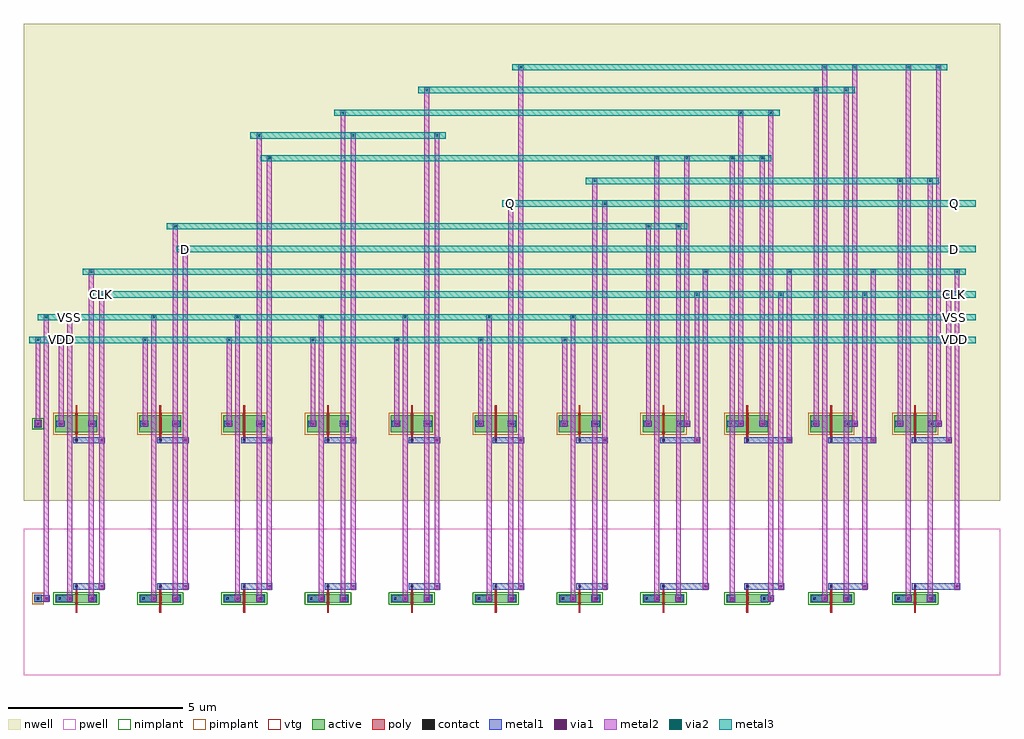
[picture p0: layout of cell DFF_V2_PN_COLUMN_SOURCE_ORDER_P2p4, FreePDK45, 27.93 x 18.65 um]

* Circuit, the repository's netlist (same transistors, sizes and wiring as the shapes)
* cell DFF_V2_PN_COLUMN_SOURCE_ORDER_P2p4
* pin Q
* pin CLK
* pin D
* pin VDD
* pin VSS
.SUBCKT DFF_V2_PN_COLUMN_SOURCE_ORDER_P2p4 6 8 9 12 13
* net 6 Q
* net 8 CLK
* net 9 D
* net 12 VDD
* net 13 VSS
* device instance $1 r0 *1 25.2,7 PMOS_VTG
M$1 11 8 7 12 PMOS_VTG L=0.05U W=0.5U AS=0.2875P AD=0.2875P PS=2.15U PD=2.15U
* device instance $2 r0 *1 20.4,7 PMOS_VTG
M$2 10 1 4 12 PMOS_VTG L=0.05U W=0.5U AS=0.2875P AD=0.2875P PS=2.15U PD=2.15U
* device instance $3 r0 *1 22.8,7 PMOS_VTG
M$3 11 1 5 12 PMOS_VTG L=0.05U W=0.5U AS=0.2875P AD=0.2875P PS=2.15U PD=2.15U
* device instance $4 r0 *1 18,7 PMOS_VTG
M$4 10 8 2 12 PMOS_VTG L=0.05U W=0.5U AS=0.2875P AD=0.2875P PS=2.15U PD=2.15U
* device instance $5 r0 *1 1.2,7 PMOS_VTG
M$5 1 8 12 12 PMOS_VTG L=0.05U W=0.5U AS=0.2875P AD=0.2875P PS=2.15U PD=2.15U
* device instance $6 r0 *1 8.4,7 PMOS_VTG
M$6 4 3 12 12 PMOS_VTG L=0.05U W=0.5U AS=0.2875P AD=0.2875P PS=2.15U PD=2.15U
* device instance $7 r0 *1 3.6,7 PMOS_VTG
M$7 2 9 12 12 PMOS_VTG L=0.05U W=0.5U AS=0.2875P AD=0.2875P PS=2.15U PD=2.15U
* device instance $8 r0 *1 6,7 PMOS_VTG
M$8 3 10 12 12 PMOS_VTG L=0.05U W=0.5U AS=0.2875P AD=0.2875P PS=2.15U PD=2.15U
* device instance $9 r0 *1 13.2,7 PMOS_VTG
M$9 6 11 12 12 PMOS_VTG L=0.05U W=0.5U AS=0.2875P AD=0.2875P PS=2.15U PD=2.15U
* device instance $10 r0 *1 10.8,7 PMOS_VTG
M$10 5 3 12 12 PMOS_VTG L=0.05U W=0.5U AS=0.2875P AD=0.2875P PS=2.15U PD=2.15U
* device instance $11 r0 *1 15.6,7 PMOS_VTG
M$11 7 6 12 12 PMOS_VTG L=0.05U W=0.5U AS=0.2875P AD=0.2875P PS=2.15U PD=2.15U
* device instance $12 r0 *1 25.2,2 NMOS_VTG
M$12 7 1 11 13 NMOS_VTG L=0.05U W=0.25U AS=0.14375P AD=0.14375P PS=1.65U
+ PD=1.65U
* device instance $13 r0 *1 22.8,2 NMOS_VTG
M$13 5 8 11 13 NMOS_VTG L=0.05U W=0.25U AS=0.14375P AD=0.14375P PS=1.65U
+ PD=1.65U
* device instance $14 r0 *1 18,2 NMOS_VTG
M$14 2 1 10 13 NMOS_VTG L=0.05U W=0.25U AS=0.14375P AD=0.14375P PS=1.65U
+ PD=1.65U
* device instance $15 r0 *1 15.6,2 NMOS_VTG
M$15 7 6 13 13 NMOS_VTG L=0.05U W=0.25U AS=0.14375P AD=0.14375P PS=1.65U
+ PD=1.65U
* device instance $16 r0 *1 1.2,2 NMOS_VTG
M$16 1 8 13 13 NMOS_VTG L=0.05U W=0.25U AS=0.14375P AD=0.14375P PS=1.65U
+ PD=1.65U
* device instance $17 r0 *1 3.6,2 NMOS_VTG
M$17 2 9 13 13 NMOS_VTG L=0.05U W=0.25U AS=0.14375P AD=0.14375P PS=1.65U
+ PD=1.65U
* device instance $18 r0 *1 6,2 NMOS_VTG
M$18 3 10 13 13 NMOS_VTG L=0.05U W=0.25U AS=0.14375P AD=0.14375P PS=1.65U
+ PD=1.65U
* device instance $19 r0 *1 8.4,2 NMOS_VTG
M$19 4 3 13 13 NMOS_VTG L=0.05U W=0.25U AS=0.14375P AD=0.14375P PS=1.65U
+ PD=1.65U
* device instance $20 r0 *1 20.4,2 NMOS_VTG
M$20 4 8 10 13 NMOS_VTG L=0.05U W=0.25U AS=0.14375P AD=0.14375P PS=1.65U
+ PD=1.65U
* device instance $21 r0 *1 13.2,2 NMOS_VTG
M$21 6 11 13 13 NMOS_VTG L=0.05U W=0.25U AS=0.14375P AD=0.14375P PS=1.65U
+ PD=1.65U
* device instance $22 r0 *1 10.8,2 NMOS_VTG
M$22 5 3 13 13 NMOS_VTG L=0.05U W=0.25U AS=0.14375P AD=0.14375P PS=1.65U
+ PD=1.65U
.ENDS DFF_V2_PN_COLUMN_SOURCE_ORDER_P2p4

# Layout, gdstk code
import gdstk
lib = gdstk.Library(unit=1e-6, precision=5e-10)
def R(c, l, rs):  # rectangles x0, y0, x1, y1
    for r in rs: c.add(gdstk.rectangle(r[:2], r[2:], *l))
def A(c, l, x, y, w, h, nx, ny, dx, dy):  # array of equal rectangles
    R(c, l, [(x+i*dx, y+j*dy, x+i*dx+w, y+j*dy+h) for i in range(nx) for j in range(ny)])
active = (1, 0)
pwell = (2, 0)
nwell = (3, 0)
nimplant = (4, 0)
pimplant = (5, 0)
vtg = (6, 0)
poly = (9, 0)
contact = (10, 0)
metal1 = (11, 0)
via1 = (12, 0)
metal2 = (13, 0)
via2 = (14, 0)
metal3 = (15, 0)

dff_v2_pn_column_source_ = lib.new_cell('DFF_V2_PN_COLUMN_SOURCE_ORDER_P2p4')
A(dff_v2_pn_column_source_, active, 0.6, 1.875, 1.2, 0.25, 11, 1, 2.4, 0)
A(dff_v2_pn_column_source_, active, 0.6, 6.75, 1.2, 0.5, 11, 1, 2.4, 0)
R(dff_v2_pn_column_source_, active, [(-0.01,1.89,0.21,2.11), (-0.01,6.89,0.21,7.11)])
R(dff_v2_pn_column_source_, pwell, [(-0.3,-0.2,27.63,4)])
R(dff_v2_pn_column_source_, nwell, [(-0.3,4.8,27.63,18.45)])
A(dff_v2_pn_column_source_, nimplant, 0.54, 1.815, 1.32, 0.37, 11, 1, 2.4, 0)
R(dff_v2_pn_column_source_, nimplant, [(-0.06,6.84,0.26,7.16)])
A(dff_v2_pn_column_source_, pimplant, 0.54, 6.69, 1.32, 0.62, 11, 1, 2.4, 0)
R(dff_v2_pn_column_source_, pimplant, [(-0.06,1.84,0.26,2.16)])
A(dff_v2_pn_column_source_, vtg, 1.165, 1.845, 0.07, 0.31, 11, 1, 2.4, 0)
A(dff_v2_pn_column_source_, vtg, 1.165, 6.72, 0.07, 0.56, 11, 1, 2.4, 0)
A(dff_v2_pn_column_source_, poly, 1.175, 1.595, 0.05, 0.81, 11, 1, 2.4, 0)
A(dff_v2_pn_column_source_, poly, 1.175, 6.47, 0.05, 1.06, 11, 1, 2.4, 0)
A(dff_v2_pn_column_source_, contact, 1.17, 2.315, 0.065, 0.065, 11, 2, 2.4, 4.185)
R(dff_v2_pn_column_source_, contact, [(0.07,1.97,0.135,2.035), (0.69,1.97,0.755,2.035), (1.65,1.97,1.715,2.035), (3.09,1.97,3.155,2.035), (4.05,1.97,4.115,2.035), (5.49,1.97,5.555,2.035), (6.45,1.97,6.515,2.035), (7.89,1.97,7.955,2.035), (8.85,1.97,8.915,2.035), (10.29,1.97,10.355,2.035), (11.25,1.97,11.315,2.035), (12.69,1.97,12.755,2.035), (13.65,1.97,13.715,2.035), (15.09,1.97,15.155,2.035), (16.05,1.97,16.115,2.035), (17.49,1.97,17.555,2.035), (18.45,1.97,18.515,2.035), (19.89,1.97,19.955,2.035), (20.85,1.97,20.915,2.035), (22.29,1.97,22.355,2.035), (23.25,1.97,23.315,2.035), (24.69,1.97,24.755,2.035), (25.65,1.97,25.715,2.035), (0.07,6.97,0.135,7.035), (0.69,6.97,0.755,7.035), (1.65,6.97,1.715,7.035), (3.09,6.97,3.155,7.035), (4.05,6.97,4.115,7.035), (5.49,6.97,5.555,7.035), (6.45,6.97,6.515,7.035), (7.89,6.97,7.955,7.035), (8.85,6.97,8.915,7.035), (10.29,6.97,10.355,7.035), (11.25,6.97,11.315,7.035), (12.69,6.97,12.755,7.035), (13.65,6.97,13.715,7.035), (15.09,6.97,15.155,7.035), (16.05,6.97,16.115,7.035), (17.49,6.97,17.555,7.035), (18.45,6.97,18.515,7.035), (19.89,6.97,19.955,7.035), (20.85,6.97,20.915,7.035), (22.29,6.97,22.355,7.035), (23.25,6.97,23.315,7.035), (24.69,6.97,24.755,7.035), (25.65,6.97,25.715,7.035)])
A(dff_v2_pn_column_source_, metal1, 0.77, 1.91, 0.24, 0.18, 8, 1, 2.4, 0)
A(dff_v2_pn_column_source_, metal1, 1.2, 2.255, 0.72, 0.18, 7, 2, 2.4, 4.185)
A(dff_v2_pn_column_source_, metal1, 17.91, 2.255, 0.18, 0.18, 3, 1, 1.2, 0)
A(dff_v2_pn_column_source_, metal1, 20.31, 6.44, 0.18, 0.18, 5, 1, 1.2, 0)
R(dff_v2_pn_column_source_, metal1, [(0,1.9,0.2,2.1), (0.1,1.91,0.34,2.09), (0.1,1.91,0.34,2.09), (0.1,1.91,0.34,2.09), (0.1,1.91,0.34,2.09), (0.1,1.91,0.34,2.09), (0.1,1.91,0.34,2.09), (0.1,1.91,0.34,2.09), (0.1,1.91,0.34,2.09), (0.1,1.91,0.34,2.09), (0.1,1.91,0.34,2.09), (0.1,1.91,0.34,2.09), (0.1,1.91,0.34,2.09), (0.25,1.91,0.43,2.09), (0.25,1.91,0.43,2.09), (0.25,1.91,0.43,2.09), (0.25,1.91,0.43,2.09), (0.25,1.91,0.43,2.09), (0.25,1.91,0.43,2.09), (0.25,1.91,0.43,2.09), (0.25,1.91,0.43,2.09), (0.25,1.91,0.43,2.09), (0.25,1.91,0.43,2.09), (0.25,1.91,0.43,2.09), (0.25,1.91,0.43,2.09), (0.63,1.91,0.81,2.09), (0.92,1.91,1.1,2.09), (1.54,1.91,1.72,2.09), (1.59,1.91,1.77,2.09), (3.03,1.91,3.21,2.09), (3.32,1.91,3.5,2.09), (3.94,1.91,4.12,2.09), (3.99,1.91,4.17,2.09), (5.43,1.91,5.61,2.09), (5.72,1.91,5.9,2.09), (6.34,1.91,6.52,2.09), (6.39,1.91,6.57,2.09), (7.83,1.91,8.01,2.09), (8.12,1.91,8.3,2.09), (8.74,1.91,8.92,2.09), (8.79,1.91,8.97,2.09), (10.23,1.91,10.41,2.09), (10.52,1.91,10.7,2.09), (11.14,1.91,11.32,2.09), (11.19,1.91,11.37,2.09), (12.63,1.91,12.81,2.09), (12.92,1.91,13.1,2.09), (13.54,1.91,13.72,2.09), (13.59,1.91,13.77,2.09), (15.03,1.91,15.21,2.09), (15.32,1.91,15.5,2.09), (15.94,1.91,16.12,2.09), (15.99,1.91,16.17,2.09), (17.43,1.91,17.61,2.09), (17.72,1.91,17.9,2.09), (18.34,1.91,18.52,2.09), (18.39,1.91,18.57,2.09), (19.83,1.91,20.01,2.09), (19.88,1.91,20.06,2.09), (20.79,1.91,20.97,2.09), (20.83,1.91,21.07,2.09), (20.98,1.91,21.16,2.09), (22.23,1.91,22.41,2.09), (22.37,1.91,22.61,2.09), (22.52,1.91,22.7,2.09), (23.14,1.91,23.32,2.09), (23.19,1.91,23.37,2.09), (24.63,1.91,24.81,2.09), (24.77,1.91,25.01,2.09), (24.92,1.91,25.1,2.09), (25.54,1.91,25.72,2.09), (25.59,1.91,25.77,2.09), (1.11,2.255,1.29,2.435), (1.83,2.255,2.01,2.435), (3.51,2.255,3.69,2.435), (4.23,2.255,4.41,2.435), (5.91,2.255,6.09,2.435), (6.63,2.255,6.81,2.435), (8.31,2.255,8.49,2.435), (9.03,2.255,9.21,2.435), (10.71,2.255,10.89,2.435), (11.43,2.255,11.61,2.435), (13.11,2.255,13.29,2.435), (13.83,2.255,14.01,2.435), (15.51,2.255,15.69,2.435), (16.23,2.255,16.41,2.435), (18,2.255,19.2,2.435), (20.4,2.255,21.36,2.435), (21.27,2.255,21.45,2.435), (22.71,2.255,22.89,2.435), (22.8,2.255,23.76,2.435), (23.67,2.255,23.85,2.435), (25.11,2.255,25.29,2.435), (25.2,2.255,26.4,2.435), (26.31,2.255,26.49,2.435), (1.11,6.44,1.29,6.62), (1.83,6.44,2.01,6.62), (3.51,6.44,3.69,6.62), (4.23,6.44,4.41,6.62), (5.91,6.44,6.09,6.62), (6.63,6.44,6.81,6.62), (8.31,6.44,8.49,6.62), (9.03,6.44,9.21,6.62), (10.71,6.44,10.89,6.62), (11.43,6.44,11.61,6.62), (13.11,6.44,13.29,6.62), (13.83,6.44,14.01,6.62), (15.51,6.44,15.69,6.62), (16.23,6.44,16.41,6.62), (17.91,6.44,18.09,6.62), (18,6.44,18.96,6.62), (18.87,6.44,19.05,6.62), (20.4,6.44,21.6,6.62), (22.8,6.44,24,6.62), (25.2,6.44,26.16,6.62), (26.07,6.44,26.25,6.62), (0,6.9,0.2,7.1), (0.01,6.91,0.19,7.09), (0.01,6.91,0.19,7.09), (0.01,6.91,0.19,7.09), (0.01,6.91,0.19,7.09), (0.01,6.91,0.19,7.09), (0.01,6.91,0.19,7.09), (0.01,6.91,0.19,7.09), (0.01,6.91,0.19,7.09), (0.01,6.91,0.19,7.09), (0.01,6.91,0.19,7.09), (0.01,6.91,0.19,7.09), (0.01,6.91,0.19,7.09), (0.63,6.91,0.81,7.09), (0.68,6.91,0.86,7.09), (1.54,6.91,1.72,7.09), (1.59,6.91,1.77,7.09), (3.03,6.91,3.21,7.09), (3.08,6.91,3.26,7.09), (3.94,6.91,4.12,7.09), (3.99,6.91,4.17,7.09), (5.43,6.91,5.61,7.09), (5.48,6.91,5.66,7.09), (6.34,6.91,6.52,7.09), (6.39,6.91,6.57,7.09), (7.83,6.91,8.01,7.09), (7.88,6.91,8.06,7.09), (8.74,6.91,8.92,7.09), (8.79,6.91,8.97,7.09), (10.23,6.91,10.41,7.09), (10.28,6.91,10.46,7.09), (11.14,6.91,11.32,7.09), (11.19,6.91,11.37,7.09), (12.63,6.91,12.81,7.09), (12.68,6.91,12.86,7.09), (13.54,6.91,13.72,7.09), (13.59,6.91,13.77,7.09), (15.03,6.91,15.21,7.09), (15.08,6.91,15.26,7.09), (15.94,6.91,16.12,7.09), (15.99,6.91,16.17,7.09), (17.43,6.91,17.61,7.09), (17.48,6.91,17.66,7.09), (18.39,6.91,18.57,7.09), (18.43,6.91,18.67,7.09), (18.58,6.91,18.76,7.09), (19.83,6.91,20.01,7.09), (19.97,6.91,20.21,7.09), (20.12,6.91,20.3,7.09), (20.74,6.91,20.92,7.09), (20.79,6.91,20.97,7.09), (22.23,6.91,22.41,7.09), (22.28,6.91,22.46,7.09), (23.19,6.91,23.37,7.09), (23.23,6.91,23.47,7.09), (23.38,6.91,23.56,7.09), (24.63,6.91,24.81,7.09), (24.68,6.91,24.86,7.09), (25.59,6.91,25.77,7.09), (25.63,6.91,25.87,7.09), (25.78,6.91,25.96,7.09)])
A(dff_v2_pn_column_source_, via1, 1.89, 2.315, 0.065, 0.065, 7, 2, 2.4, 4.185)
R(dff_v2_pn_column_source_, via1, [(0.31,1.97,0.375,2.035), (0.31,1.97,0.375,2.035), (0.31,1.97,0.375,2.035), (0.31,1.97,0.375,2.035), (0.31,1.97,0.375,2.035), (0.31,1.97,0.375,2.035), (0.31,1.97,0.375,2.035), (0.31,1.97,0.375,2.035), (0.31,1.97,0.375,2.035), (0.31,1.97,0.375,2.035), (0.31,1.97,0.375,2.035), (0.31,1.97,0.375,2.035), (0.98,1.97,1.045,2.035), (1.6,1.97,1.665,2.035), (3.38,1.97,3.445,2.035), (4,1.97,4.065,2.035), (5.78,1.97,5.845,2.035), (6.4,1.97,6.465,2.035), (8.18,1.97,8.245,2.035), (8.8,1.97,8.865,2.035), (10.58,1.97,10.645,2.035), (11.2,1.97,11.265,2.035), (12.98,1.97,13.045,2.035), (13.6,1.97,13.665,2.035), (15.38,1.97,15.445,2.035), (16,1.97,16.065,2.035), (17.78,1.97,17.845,2.035), (18.4,1.97,18.465,2.035), (19.94,1.97,20.005,2.035), (21.04,1.97,21.105,2.035), (22.58,1.97,22.645,2.035), (23.2,1.97,23.265,2.035), (24.98,1.97,25.045,2.035), (25.6,1.97,25.665,2.035), (19.17,2.315,19.235,2.38), (21.33,2.315,21.395,2.38), (23.73,2.315,23.795,2.38), (26.37,2.315,26.435,2.38), (18.93,6.5,18.995,6.565), (21.57,6.5,21.635,6.565), (23.97,6.5,24.035,6.565), (26.13,6.5,26.195,6.565), (0.07,6.97,0.135,7.035), (0.07,6.97,0.135,7.035), (0.07,6.97,0.135,7.035), (0.07,6.97,0.135,7.035), (0.07,6.97,0.135,7.035), (0.07,6.97,0.135,7.035), (0.07,6.97,0.135,7.035), (0.07,6.97,0.135,7.035), (0.07,6.97,0.135,7.035), (0.07,6.97,0.135,7.035), (0.07,6.97,0.135,7.035), (0.07,6.97,0.135,7.035), (0.74,6.97,0.805,7.035), (1.6,6.97,1.665,7.035), (3.14,6.97,3.205,7.035), (4,6.97,4.065,7.035), (5.54,6.97,5.605,7.035), (6.4,6.97,6.465,7.035), (7.94,6.97,8.005,7.035), (8.8,6.97,8.865,7.035), (10.34,6.97,10.405,7.035), (11.2,6.97,11.265,7.035), (12.74,6.97,12.805,7.035), (13.6,6.97,13.665,7.035), (15.14,6.97,15.205,7.035), (16,6.97,16.065,7.035), (17.54,6.97,17.605,7.035), (18.64,6.97,18.705,7.035), (20.18,6.97,20.245,7.035), (20.8,6.97,20.865,7.035), (22.34,6.97,22.405,7.035), (23.44,6.97,23.505,7.035), (24.74,6.97,24.805,7.035), (25.84,6.97,25.905,7.035)])
A(dff_v2_pn_column_source_, metal2, 0.94, 2, 0.14, 8.05, 7, 1, 2.4, 0)
A(dff_v2_pn_column_source_, metal2, 1.845, 2.27, 0.15, 0.15, 7, 2, 2.4, 4.185)
A(dff_v2_pn_column_source_, metal2, 0.7, 7, 0.14, 2.4, 7, 1, 2.4, 0)
A(dff_v2_pn_column_source_, metal2, 0.695, 9.325, 0.15, 0.15, 7, 1, 2.4, 0)
A(dff_v2_pn_column_source_, metal2, 0.935, 9.975, 0.15, 0.15, 7, 1, 2.4, 0)
A(dff_v2_pn_column_source_, metal2, 18.885, 10.625, 0.15, 0.15, 4, 1, 2.4, 0)
A(dff_v2_pn_column_source_, metal2, 19.125, 11.275, 0.15, 0.15, 4, 1, 2.4, 0)
R(dff_v2_pn_column_source_, metal2, [(0.265,1.925,0.415,2.075), (0.265,1.925,0.415,2.075), (0.265,1.925,0.415,2.075), (0.265,1.925,0.415,2.075), (0.265,1.925,0.415,2.075), (0.265,1.925,0.415,2.075), (0.265,1.925,0.415,2.075), (0.265,1.925,0.415,2.075), (0.265,1.925,0.415,2.075), (0.265,1.925,0.415,2.075), (0.265,1.925,0.415,2.075), (0.265,1.925,0.415,2.075), (0.935,1.925,1.085,2.075), (1.555,1.925,1.705,2.075), (3.335,1.925,3.485,2.075), (3.955,1.925,4.105,2.075), (5.735,1.925,5.885,2.075), (6.355,1.925,6.505,2.075), (8.135,1.925,8.285,2.075), (8.755,1.925,8.905,2.075), (10.535,1.925,10.685,2.075), (11.155,1.925,11.305,2.075), (12.935,1.925,13.085,2.075), (13.555,1.925,13.705,2.075), (15.335,1.925,15.485,2.075), (15.955,1.925,16.105,2.075), (17.735,1.925,17.885,2.075), (18.355,1.925,18.505,2.075), (19.895,1.925,20.045,2.075), (20.995,1.925,21.145,2.075), (22.535,1.925,22.685,2.075), (23.155,1.925,23.305,2.075), (24.935,1.925,25.085,2.075), (25.555,1.925,25.705,2.075), (0.27,2,0.41,10.05), (0.27,2,0.41,10.05), (0.27,2,0.41,10.05), (0.27,2,0.41,10.05), (0.27,2,0.41,10.05), (0.27,2,0.41,10.05), (0.27,2,0.41,10.05), (0.27,2,0.41,10.05), (0.27,2,0.41,10.05), (0.27,2,0.41,10.05), (0.27,2,0.41,10.05), (0.27,2,0.41,10.05), (1.56,2,1.7,11.35), (3.96,2,4.1,12.65), (6.36,2,6.5,15.25), (8.76,2,8.9,15.9), (11.16,2,11.3,16.55), (13.56,2,13.7,13.3), (15.96,2,16.1,13.95), (17.74,2,17.88,14.6), (18.36,2,18.5,12.65), (19.9,2,20.04,14.6), (21,2,21.14,15.9), (22.54,2,22.68,17.2), (23.16,2,23.3,16.55), (24.94,2,25.08,17.2), (25.56,2,25.7,13.95), (19.125,2.27,19.275,2.42), (21.285,2.27,21.435,2.42), (23.685,2.27,23.835,2.42), (26.325,2.27,26.475,2.42), (1.85,2.345,1.99,10.7), (4.25,2.345,4.39,12), (6.65,2.345,6.79,14.6), (9.05,2.345,9.19,15.25), (11.45,2.345,11.59,15.25), (13.85,2.345,13.99,17.2), (16.25,2.345,16.39,13.3), (19.13,2.345,19.27,11.35), (21.29,2.345,21.43,10.7), (23.69,2.345,23.83,10.7), (26.33,2.345,26.47,11.35), (18.885,6.455,19.035,6.605), (21.525,6.455,21.675,6.605), (23.925,6.455,24.075,6.605), (26.085,6.455,26.235,6.605), (1.85,6.53,1.99,10.7), (4.25,6.53,4.39,12), (6.65,6.53,6.79,14.6), (9.05,6.53,9.19,15.25), (11.45,6.53,11.59,15.25), (13.85,6.53,13.99,17.2), (16.25,6.53,16.39,13.3), (18.89,6.53,19.03,10.7), (21.53,6.53,21.67,11.35), (23.93,6.53,24.07,11.35), (26.09,6.53,26.23,10.7), (0.025,6.925,0.175,7.075), (0.025,6.925,0.175,7.075), (0.025,6.925,0.175,7.075), (0.025,6.925,0.175,7.075), (0.025,6.925,0.175,7.075), (0.025,6.925,0.175,7.075), (0.025,6.925,0.175,7.075), (0.025,6.925,0.175,7.075), (0.025,6.925,0.175,7.075), (0.025,6.925,0.175,7.075), (0.025,6.925,0.175,7.075), (0.025,6.925,0.175,7.075), (0.695,6.925,0.845,7.075), (1.555,6.925,1.705,7.075), (3.095,6.925,3.245,7.075), (3.955,6.925,4.105,7.075), (5.495,6.925,5.645,7.075), (6.355,6.925,6.505,7.075), (7.895,6.925,8.045,7.075), (8.755,6.925,8.905,7.075), (10.295,6.925,10.445,7.075), (11.155,6.925,11.305,7.075), (12.695,6.925,12.845,7.075), (13.555,6.925,13.705,7.075), (15.095,6.925,15.245,7.075), (15.955,6.925,16.105,7.075), (17.495,6.925,17.645,7.075), (18.595,6.925,18.745,7.075), (20.135,6.925,20.285,7.075), (20.755,6.925,20.905,7.075), (22.295,6.925,22.445,7.075), (23.395,6.925,23.545,7.075), (24.695,6.925,24.845,7.075), (25.795,6.925,25.945,7.075), (0.03,7,0.17,9.4), (0.03,7,0.17,9.4), (0.03,7,0.17,9.4), (0.03,7,0.17,9.4), (0.03,7,0.17,9.4), (0.03,7,0.17,9.4), (0.03,7,0.17,9.4), (0.03,7,0.17,9.4), (0.03,7,0.17,9.4), (0.03,7,0.17,9.4), (0.03,7,0.17,9.4), (0.03,7,0.17,9.4), (1.56,7,1.7,11.35), (3.96,7,4.1,12.65), (6.36,7,6.5,15.25), (8.76,7,8.9,15.9), (11.16,7,11.3,16.55), (13.56,7,13.7,13.3), (15.96,7,16.1,13.95), (17.5,7,17.64,12.65), (18.6,7,18.74,14.6), (20.14,7,20.28,15.9), (20.76,7,20.9,14.6), (22.3,7,22.44,16.55), (23.4,7,23.54,17.2), (24.7,7,24.84,13.95), (25.8,7,25.94,17.2), (0.025,9.325,0.175,9.475), (0.025,9.325,0.175,9.475), (0.025,9.325,0.175,9.475), (0.025,9.325,0.175,9.475), (0.025,9.325,0.175,9.475), (0.025,9.325,0.175,9.475), (0.025,9.325,0.175,9.475), (0.025,9.325,0.175,9.475), (0.025,9.325,0.175,9.475), (0.025,9.325,0.175,9.475), (0.025,9.325,0.175,9.475), (0.025,9.325,0.175,9.475), (0.265,9.975,0.415,10.125), (0.265,9.975,0.415,10.125), (0.265,9.975,0.415,10.125), (0.265,9.975,0.415,10.125), (0.265,9.975,0.415,10.125), (0.265,9.975,0.415,10.125), (0.265,9.975,0.415,10.125), (0.265,9.975,0.415,10.125), (0.265,9.975,0.415,10.125), (0.265,9.975,0.415,10.125), (0.265,9.975,0.415,10.125), (0.265,9.975,0.415,10.125), (1.845,10.625,1.995,10.775), (1.845,10.625,1.995,10.775), (1.555,11.275,1.705,11.425), (1.555,11.275,1.705,11.425), (4.245,11.925,4.395,12.075), (4.245,11.925,4.395,12.075), (3.955,12.575,4.105,12.725), (3.955,12.575,4.105,12.725), (17.495,12.575,17.645,12.725), (18.355,12.575,18.505,12.725), (13.555,13.225,13.705,13.375), (13.555,13.225,13.705,13.375), (16.245,13.225,16.395,13.375), (16.245,13.225,16.395,13.375), (15.955,13.875,16.105,14.025), (15.955,13.875,16.105,14.025), (24.695,13.875,24.845,14.025), (25.555,13.875,25.705,14.025), (6.645,14.525,6.795,14.675), (6.645,14.525,6.795,14.675), (17.735,14.525,17.885,14.675), (18.595,14.525,18.745,14.675), (19.895,14.525,20.045,14.675), (20.755,14.525,20.905,14.675), (6.355,15.175,6.505,15.325), (6.355,15.175,6.505,15.325), (9.045,15.175,9.195,15.325), (9.045,15.175,9.195,15.325), (11.445,15.175,11.595,15.325), (11.445,15.175,11.595,15.325), (8.755,15.825,8.905,15.975), (8.755,15.825,8.905,15.975), (20.135,15.825,20.285,15.975), (20.995,15.825,21.145,15.975), (11.155,16.475,11.305,16.625), (11.155,16.475,11.305,16.625), (22.295,16.475,22.445,16.625), (23.155,16.475,23.305,16.625), (13.845,17.125,13.995,17.275), (13.845,17.125,13.995,17.275), (22.535,17.125,22.685,17.275), (23.395,17.125,23.545,17.275), (24.935,17.125,25.085,17.275), (25.795,17.125,25.945,17.275)])
A(dff_v2_pn_column_source_, via2, 0.74, 9.37, 0.065, 0.065, 7, 1, 2.4, 0)
A(dff_v2_pn_column_source_, via2, 0.98, 10.02, 0.065, 0.065, 7, 1, 2.4, 0)
A(dff_v2_pn_column_source_, via2, 18.93, 10.67, 0.065, 0.065, 4, 1, 2.4, 0)
A(dff_v2_pn_column_source_, via2, 19.17, 11.32, 0.065, 0.065, 4, 1, 2.4, 0)
R(dff_v2_pn_column_source_, via2, [(0.07,9.37,0.135,9.435), (0.07,9.37,0.135,9.435), (0.07,9.37,0.135,9.435), (0.07,9.37,0.135,9.435), (0.07,9.37,0.135,9.435), (0.07,9.37,0.135,9.435), (0.07,9.37,0.135,9.435), (0.07,9.37,0.135,9.435), (0.07,9.37,0.135,9.435), (0.07,9.37,0.135,9.435), (0.07,9.37,0.135,9.435), (0.07,9.37,0.135,9.435), (0.31,10.02,0.375,10.085), (0.31,10.02,0.375,10.085), (0.31,10.02,0.375,10.085), (0.31,10.02,0.375,10.085), (0.31,10.02,0.375,10.085), (0.31,10.02,0.375,10.085), (0.31,10.02,0.375,10.085), (0.31,10.02,0.375,10.085), (0.31,10.02,0.375,10.085), (0.31,10.02,0.375,10.085), (0.31,10.02,0.375,10.085), (0.31,10.02,0.375,10.085), (1.89,10.67,1.955,10.735), (1.89,10.67,1.955,10.735), (1.6,11.32,1.665,11.385), (1.6,11.32,1.665,11.385), (4.29,11.97,4.355,12.035), (4.29,11.97,4.355,12.035), (4,12.62,4.065,12.685), (4,12.62,4.065,12.685), (17.54,12.62,17.605,12.685), (18.4,12.62,18.465,12.685), (13.6,13.27,13.665,13.335), (13.6,13.27,13.665,13.335), (16.29,13.27,16.355,13.335), (16.29,13.27,16.355,13.335), (16,13.92,16.065,13.985), (16,13.92,16.065,13.985), (24.74,13.92,24.805,13.985), (25.6,13.92,25.665,13.985), (6.69,14.57,6.755,14.635), (6.69,14.57,6.755,14.635), (17.78,14.57,17.845,14.635), (18.64,14.57,18.705,14.635), (19.94,14.57,20.005,14.635), (20.8,14.57,20.865,14.635), (6.4,15.22,6.465,15.285), (6.4,15.22,6.465,15.285), (9.09,15.22,9.155,15.285), (9.09,15.22,9.155,15.285), (11.49,15.22,11.555,15.285), (11.49,15.22,11.555,15.285), (8.8,15.87,8.865,15.935), (8.8,15.87,8.865,15.935), (20.18,15.87,20.245,15.935), (21.04,15.87,21.105,15.935), (11.2,16.52,11.265,16.585), (11.2,16.52,11.265,16.585), (22.34,16.52,22.405,16.585), (23.2,16.52,23.265,16.585), (13.89,17.17,13.955,17.235), (13.89,17.17,13.955,17.235), (22.58,17.17,22.645,17.235), (23.44,17.17,23.505,17.235), (24.98,17.17,25.045,17.235), (25.84,17.17,25.905,17.235)])
A(dff_v2_pn_column_source_, metal3, 0.695, 9.325, 0.15, 0.15, 7, 1, 2.4, 0)
A(dff_v2_pn_column_source_, metal3, 0.935, 9.975, 0.15, 0.15, 7, 1, 2.4, 0)
A(dff_v2_pn_column_source_, metal3, 18.885, 10.625, 0.15, 0.15, 4, 1, 2.4, 0)
A(dff_v2_pn_column_source_, metal3, 19.125, 11.275, 0.15, 0.15, 4, 1, 2.4, 0)
R(dff_v2_pn_column_source_, metal3, [(-0.15,9.31,15.42,9.49), (15.42,9.31,26.93,9.49), (0.025,9.325,0.175,9.475), (0.025,9.325,0.175,9.475), (0.025,9.325,0.175,9.475), (0.025,9.325,0.175,9.475), (0.025,9.325,0.175,9.475), (0.025,9.325,0.175,9.475), (0.025,9.325,0.175,9.475), (0.025,9.325,0.175,9.475), (0.025,9.325,0.175,9.475), (0.025,9.325,0.175,9.475), (0.025,9.325,0.175,9.475), (0.025,9.325,0.175,9.475), (0.09,9.96,15.66,10.14), (15.66,9.96,26.93,10.14), (0.265,9.975,0.415,10.125), (0.265,9.975,0.415,10.125), (0.265,9.975,0.415,10.125), (0.265,9.975,0.415,10.125), (0.265,9.975,0.415,10.125), (0.265,9.975,0.415,10.125), (0.265,9.975,0.415,10.125), (0.265,9.975,0.415,10.125), (0.265,9.975,0.415,10.125), (0.265,9.975,0.415,10.125), (0.265,9.975,0.415,10.125), (0.265,9.975,0.415,10.125), (1.67,10.61,26.41,10.79), (26.41,10.61,26.93,10.79), (1.845,10.625,1.995,10.775), (1.845,10.625,1.995,10.775), (1.38,11.26,26.65,11.44), (1.555,11.275,1.705,11.425), (1.555,11.275,1.705,11.425), (4.07,11.91,4.57,12.09), (4.57,11.91,26.93,12.09), (4.245,11.925,4.395,12.075), (4.245,11.925,4.395,12.075), (3.78,12.56,18.68,12.74), (3.955,12.575,4.105,12.725), (3.955,12.575,4.105,12.725), (17.495,12.575,17.645,12.725), (18.355,12.575,18.505,12.725), (13.38,13.21,16.57,13.39), (16.57,13.21,26.93,13.39), (13.555,13.225,13.705,13.375), (13.555,13.225,13.705,13.375), (16.245,13.225,16.395,13.375), (16.245,13.225,16.395,13.375), (15.78,13.86,25.88,14.04), (15.955,13.875,16.105,14.025), (15.955,13.875,16.105,14.025), (24.695,13.875,24.845,14.025), (25.555,13.875,25.705,14.025), (6.47,14.51,21.08,14.69), (6.645,14.525,6.795,14.675), (6.645,14.525,6.795,14.675), (17.735,14.525,17.885,14.675), (18.595,14.525,18.745,14.675), (19.895,14.525,20.045,14.675), (20.755,14.525,20.905,14.675), (6.18,15.16,11.77,15.34), (6.355,15.175,6.505,15.325), (6.355,15.175,6.505,15.325), (9.045,15.175,9.195,15.325), (9.045,15.175,9.195,15.325), (11.445,15.175,11.595,15.325), (11.445,15.175,11.595,15.325), (8.58,15.81,21.32,15.99), (8.755,15.825,8.905,15.975), (8.755,15.825,8.905,15.975), (20.135,15.825,20.285,15.975), (20.995,15.825,21.145,15.975), (10.98,16.46,23.48,16.64), (11.155,16.475,11.305,16.625), (11.155,16.475,11.305,16.625), (22.295,16.475,22.445,16.625), (23.155,16.475,23.305,16.625), (13.67,17.11,26.12,17.29), (13.845,17.125,13.995,17.275), (13.845,17.125,13.995,17.275), (22.535,17.125,22.685,17.275), (23.395,17.125,23.545,17.275), (24.935,17.125,25.085,17.275), (25.795,17.125,25.945,17.275)])
dff_v2_pn_column_source_.add(gdstk.Label('VDD', (26.33,9.4), layer=15, texttype=0))
dff_v2_pn_column_source_.add(gdstk.Label('VDD', (26.33,9.4), layer=15, texttype=1))
dff_v2_pn_column_source_.add(gdstk.Label('VDD', (26.33,9.4), layer=15, texttype=2))
dff_v2_pn_column_source_.add(gdstk.Label('VDD', (0.77,9.4), layer=13, texttype=0))
dff_v2_pn_column_source_.add(gdstk.Label('VDD', (0.77,9.4), layer=13, texttype=1))
dff_v2_pn_column_source_.add(gdstk.Label('VDD', (0.77,9.4), layer=13, texttype=2))
dff_v2_pn_column_source_.add(gdstk.Label('VSS', (26.33,10.05), layer=15, texttype=0))
dff_v2_pn_column_source_.add(gdstk.Label('VSS', (26.33,10.05), layer=15, texttype=1))
dff_v2_pn_column_source_.add(gdstk.Label('VSS', (26.33,10.05), layer=15, texttype=2))
dff_v2_pn_column_source_.add(gdstk.Label('VSS', (1.01,10.05), layer=13, texttype=0))
dff_v2_pn_column_source_.add(gdstk.Label('VSS', (1.01,10.05), layer=13, texttype=1))
dff_v2_pn_column_source_.add(gdstk.Label('VSS', (1.01,10.05), layer=13, texttype=2))
dff_v2_pn_column_source_.add(gdstk.Label('D', (26.33,12), layer=15, texttype=0))
dff_v2_pn_column_source_.add(gdstk.Label('D', (26.33,12), layer=15, texttype=1))
dff_v2_pn_column_source_.add(gdstk.Label('D', (26.33,12), layer=15, texttype=2))
dff_v2_pn_column_source_.add(gdstk.Label('D', (4.32,12), layer=13, texttype=0))
dff_v2_pn_column_source_.add(gdstk.Label('D', (4.32,12), layer=13, texttype=1))
dff_v2_pn_column_source_.add(gdstk.Label('D', (4.32,12), layer=13, texttype=2))
dff_v2_pn_column_source_.add(gdstk.Label('Q', (26.33,13.3), layer=15, texttype=0))
dff_v2_pn_column_source_.add(gdstk.Label('Q', (26.33,13.3), layer=15, texttype=1))
dff_v2_pn_column_source_.add(gdstk.Label('Q', (26.33,13.3), layer=15, texttype=2))
dff_v2_pn_column_source_.add(gdstk.Label('Q', (13.63,13.3), layer=13, texttype=0))
dff_v2_pn_column_source_.add(gdstk.Label('Q', (13.63,13.3), layer=13, texttype=1))
dff_v2_pn_column_source_.add(gdstk.Label('Q', (13.63,13.3), layer=13, texttype=2))
dff_v2_pn_column_source_.add(gdstk.Label('CLK', (26.33,10.7), layer=15, texttype=0))
dff_v2_pn_column_source_.add(gdstk.Label('CLK', (26.33,10.7), layer=15, texttype=1))
dff_v2_pn_column_source_.add(gdstk.Label('CLK', (26.33,10.7), layer=15, texttype=2))
dff_v2_pn_column_source_.add(gdstk.Label('CLK', (1.92,10.7), layer=13, texttype=0))
dff_v2_pn_column_source_.add(gdstk.Label('CLK', (1.92,10.7), layer=13, texttype=1))
dff_v2_pn_column_source_.add(gdstk.Label('CLK', (1.92,10.7), layer=13, texttype=2))

lib.write_gds('DFF_V2_PN_COLUMN_SOURCE_ORDER_P2p4.gds')
